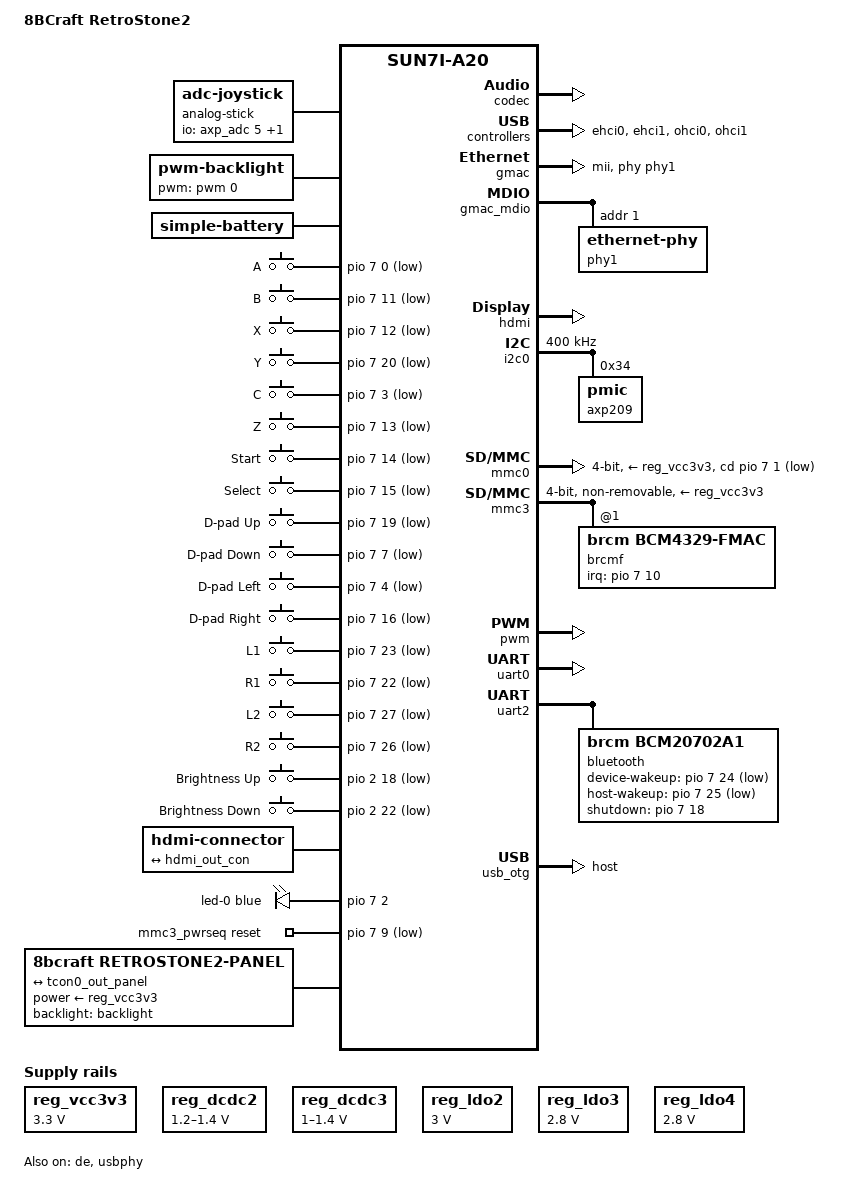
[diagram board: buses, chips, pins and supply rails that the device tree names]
// SPDX-License-Identifier: (GPL-2.0+ OR MIT)
/*
 * 8BCraft RetroStone2 handheld (Allwinner A20), device tree for RetroStoneOS.
 * Target: mainline Linux 6.18 (arch/arm/boot/dts/allwinner/).
 *
 * Pin assignments are verified against the RetroStone2 schematic v1.15
 * (hardware/retrostoneA20-1.15.sch). The old RetrOrangePi files in
 * reference/retrostone-rop/ contradict the schematic in several places; the
 * full pin table, the sources and the conflicts are in docs/hardware-pinmap.md.
 *
 * Opt-in hardware (the "Pro" variant parts) is described here but disabled:
 * eMMC on mmc2 and the M.2 SATA slot. Enable them with the overlays in
 * dts/overlays/ (the base DTB must be built with symbols, dtc -@).
 */

/dts-v1/;
#include "sun7i-a20.dtsi"

#include <dt-bindings/gpio/gpio.h>
#include <dt-bindings/input/input.h>
#include <dt-bindings/interrupt-controller/irq.h>
#include <dt-bindings/leds/common.h>

/ {
	model = "8BCraft RetroStone2";
	compatible = "8bcraft,retrostone2", "allwinner,sun7i-a20";

	aliases {
		ethernet0 = &gmac;	/* U-Boot derives the MAC from the SID */
		/* Stable block device numbers: the microSD is always mmcblk0 */
		mmc0 = &mmc0;
		mmc1 = &mmc2;
		mmc2 = &mmc3;
		serial0 = &uart0;
		serial1 = &uart2;
	};

	chosen {
		stdout-path = "serial0:115200n8";
	};

	/*
	 * Optional analog stick U$33 (FPC CN1, "Pro" part), read through the
	 * AXP209 ADC. The pots are fed from the 1.5 V net, the wipers go to AXP
	 * GPIO0 (X) and GPIO1 (Y). axp20x_adc raw unit is 0.5 mV, so full scale
	 * is ~3000. io-channels indexes are positions in axp20x_adc_channels[]:
	 * 5 = gpio0_v, 6 = gpio1_v (the old kernel exposed them as in_voltage3/4).
	 * X is inverted, like the production script (ABS_X = VREF - raw).
	 * With no stick fitted the inputs float at ~2000 mV (raw ~4000), outside
	 * abs-range: userspace must treat out-of-range values as "not connected".
	 * TODO(hw): calibrate range/center on a unit with the stick fitted.
	 */
	analog-stick {
		compatible = "adc-joystick";
		io-channels = <&axp_adc 5>, <&axp_adc 6>;
		poll-interval = <10>;
		#address-cells = <1>;
		#size-cells = <0>;

		axis@0 {
			reg = <0>;
			linux,code = <ABS_X>;
			abs-range = <3000 0>;
			abs-fuzz = <8>;
			abs-flat = <400>;
		};

		axis@1 {
			reg = <1>;
			linux,code = <ABS_Y>;
			abs-range = <0 3000>;
			abs-fuzz = <8>;
			abs-flat = <400>;
		};
	};

	/*
	 * PB2/PWM0 -> R22 -> CE of U14 (KA2707 LED boost), R23 pulls CE low.
	 * The boost runs from IPSOUT: there is no backlight enable GPIO and no
	 * backlight supply to switch (schematic v1.15).
	 */
	backlight: backlight {
		compatible = "pwm-backlight";
		pwms = <&pwm 0 50000 0>;
		/* Gamma 1.8 table from the production RetrOrangePi DTS */
		brightness-levels = <  0   1   1   1   1   1   2   2
				       3   3   4   5   6   6   7   8
				       9  11  12  13  14  15  17  18
				      20  21  23  24  26  27  29  31
				      33  35  37  39  41  43  45  47
				      49  51  54  56  58  61  63  66
				      68  71  73  76  79  81  84  87
				      90  93  96  99 102 105 108 111
				     114 117 121 124 127 131 134 138
				     141 145 148 152 156 159 163 167
				     171 175 178 182 186 190 194 198
				     203 207 211 215 219 224 228 233
				     237 241 246 250 255>;
		default-brightness-level = <50>;
	};

	/*
	 * Power management (docs/power.md): the Li-ion cell on U$18, used by
	 * axp20x-battery through monitored-battery. The 6.18 AXP209 driver
	 * applies two of these values at probe:
	 *  - voltage-min-design -> REG31 V_OFF, the AXP hardware cut-off
	 *    (2.6-3.3 V, reset default 2.9 V). 3.0 V is the last line of
	 *    defence; the frontend saves and powers off first, at 3.45 V
	 *    under load.
	 *  - constant-charge-current-max -> REG33 charge current (300-1800 mA,
	 *    100 mA steps). 1.0 A = 0.25 C for 4000 mAh, not above the AXP
	 *    reset default, and within what a micro-USB cable on ACIN (no
	 *    input current limit) delivers while the unit also runs.
	 * The others describe the cell; the AXP209 charge target stays at its
	 * 4.2 V reset default (the driver does not apply voltage-max-design).
	 * TODO(hw): cell capacity and datasheet (max charge current, cut-off),
	 * charge time and cable/charger heating at 1.0 A, and that REG33
	 * reads 4.2 V (voltage_max in sysfs).
	 */
	battery: battery {
		compatible = "simple-battery";
		device-chemistry = "lithium-ion";
		charge-full-design-microamp-hours = <4000000>;
		voltage-min-design-microvolt = <3000000>;
		voltage-max-design-microvolt = <4200000>;
		constant-charge-current-max-microamp = <1000000>;
		constant-charge-voltage-max-microvolt = <4200000>;
	};

	/*
	 * Face buttons, D-pad, START/SELECT. All switch to GND with an external
	 * 10k pull-up (active low). Every pin here is PH0-PH21, which have an
	 * external interrupt (EINTn) on the A20, so they are interrupt driven.
	 *
	 * Codes follow Documentation/input/gamepad.rst, which is positional:
	 * the Nintendo-style labels A (right) and B (bottom) map to BTN_EAST and
	 * BTN_SOUTH. This matches the production RetroArch autoconfig
	 * (PH0 = RetroPad A, PH11 = RetroPad B, PH12 = X, PH20 = Y).
	 * TODO(hw): confirm the physical A/B/X/Y positions on the case.
	 */
	gpio-keys {
		compatible = "gpio-keys";
		label = "RetroStone2 Buttons";

		button-a {
			label = "A";
			linux,code = <BTN_EAST>;
			gpios = <&pio 7 0 GPIO_ACTIVE_LOW>;	/* PH0, K2 */
		};

		button-b {
			label = "B";
			linux,code = <BTN_SOUTH>;
			gpios = <&pio 7 11 GPIO_ACTIVE_LOW>;	/* PH11, K4 */
		};

		button-x {
			label = "X";
			linux,code = <BTN_NORTH>;
			gpios = <&pio 7 12 GPIO_ACTIVE_LOW>;	/* PH12, K1 */
		};

		button-y {
			label = "Y";
			linux,code = <BTN_WEST>;
			gpios = <&pio 7 20 GPIO_ACTIVE_LOW>;	/* PH20, K3 */
		};

		/* Optional buttons (pads SELECT3/SELECT4 on the PCB) */
		button-c {
			label = "C";
			linux,code = <BTN_C>;
			gpios = <&pio 7 3 GPIO_ACTIVE_LOW>;	/* PH3, K5 */
		};

		button-z {
			label = "Z";
			linux,code = <BTN_Z>;
			gpios = <&pio 7 13 GPIO_ACTIVE_LOW>;	/* PH13, K6 */
		};

		button-start {
			label = "Start";
			linux,code = <BTN_START>;
			gpios = <&pio 7 14 GPIO_ACTIVE_LOW>;	/* PH14 */
		};

		button-select {
			label = "Select";
			linux,code = <BTN_SELECT>;
			gpios = <&pio 7 15 GPIO_ACTIVE_LOW>;	/* PH15 */
		};

		button-dpad-up {
			label = "D-pad Up";
			linux,code = <BTN_DPAD_UP>;
			gpios = <&pio 7 19 GPIO_ACTIVE_LOW>;	/* PH19 */
		};

		button-dpad-down {
			label = "D-pad Down";
			linux,code = <BTN_DPAD_DOWN>;
			gpios = <&pio 7 7 GPIO_ACTIVE_LOW>;	/* PH7 */
		};

		button-dpad-left {
			label = "D-pad Left";
			linux,code = <BTN_DPAD_LEFT>;
			gpios = <&pio 7 4 GPIO_ACTIVE_LOW>;	/* PH4 */
		};

		button-dpad-right {
			label = "D-pad Right";
			linux,code = <BTN_DPAD_RIGHT>;
			gpios = <&pio 7 16 GPIO_ACTIVE_LOW>;	/* PH16 */
		};
	};

	/*
	 * Shoulder buttons on the 5-pin JST connector U$4. PH22-PH27 have no
	 * EINT on the A20, so they are polled. Active low, external 10k pull-ups.
	 */
	gpio-keys-shoulder {
		compatible = "gpio-keys-polled";
		label = "RetroStone2 Shoulder Buttons";
		poll-interval = <5>;

		button-l1 {
			label = "L1";
			linux,code = <BTN_TL>;
			gpios = <&pio 7 23 GPIO_ACTIVE_LOW>;	/* PH23 */
		};

		button-r1 {
			label = "R1";
			linux,code = <BTN_TR>;
			gpios = <&pio 7 22 GPIO_ACTIVE_LOW>;	/* PH22 */
		};

		button-l2 {
			label = "L2";
			linux,code = <BTN_TL2>;
			gpios = <&pio 7 27 GPIO_ACTIVE_LOW>;	/* PH27 */
		};

		button-r2 {
			label = "R2";
			linux,code = <BTN_TR2>;
			gpios = <&pio 7 26 GPIO_ACTIVE_LOW>;	/* PH26 */
		};
	};

	/*
	 * Tact switches U$32 (PC18) and U$31 (PC22), active low with external
	 * 10k pull-ups. Port C has no EINT, so they are polled. The production
	 * firmware used them as brightness +/-; volume is an analog wheel, so
	 * brightness codes are the right default. Kept in their own input
	 * device so the gamepad device only reports gamepad codes.
	 */
	gpio-keys-brightness {
		compatible = "gpio-keys-polled";
		label = "RetroStone2 Brightness Keys";
		poll-interval = <10>;

		key-brightness-up {
			label = "Brightness Up";
			linux,code = <KEY_BRIGHTNESSUP>;
			gpios = <&pio 2 18 GPIO_ACTIVE_LOW>;	/* PC18, U$32 */
		};

		key-brightness-down {
			label = "Brightness Down";
			linux,code = <KEY_BRIGHTNESSDOWN>;
			gpios = <&pio 2 22 GPIO_ACTIVE_LOW>;	/* PC22, U$31 */
		};
	};

	hdmi-connector {
		compatible = "hdmi-connector";
		type = "a";

		port {
			hdmi_con_in: endpoint {
				remote-endpoint = <&hdmi_out_con>;
			};
		};
	};

	leds {
		compatible = "gpio-leds";

		/* PH2 -> R110 (10k) -> LED3 (blue) -> GND: active high */
		led-0 {
			function = LED_FUNCTION_STATUS;
			color = <LED_COLOR_ID_BLUE>;
			gpios = <&pio 7 2 GPIO_ACTIVE_HIGH>;	/* PH2 */
			default-state = "off";
		};
	};

	/* eMMC U23 reset (RST_N, 10k pull-up R121). Enabled by the emmc overlay. */
	mmc2_pwrseq: pwrseq-emmc {
		compatible = "mmc-pwrseq-emmc";
		reset-gpios = <&pio 2 16 GPIO_ACTIVE_LOW>;	/* PC16 */
		status = "disabled";
	};

	/* AP6210 WL_REG_ON and the 32.768 kHz LPO from CLK_OUT_A (PI12) */
	mmc3_pwrseq: pwrseq-wifi {
		compatible = "mmc-pwrseq-simple";
		reset-gpios = <&pio 7 9 GPIO_ACTIVE_LOW>;	/* PH9 WL_REG_ON */
		clocks = <&ccu CLK_OUT_A>;
		clock-names = "ext_clock";
		/* out-a resets to the 24 MHz parent: force 32.768 kHz from osc32k */
		assigned-clocks = <&ccu CLK_OUT_A>;
		assigned-clock-parents = <&osc32k>;
		assigned-clock-rates = <32768>;
	};

	/*
	 * 3.5" 640x480 parallel RGB panel on the FPC U$7. All 24 data lines
	 * (PD0-PD23), CLK (PD24 via R24), DE (PD25), HSYNC (PD26) and VSYNC
	 * (PD27) are wired, so the bus is RGB888 (the old U-Boot "depth:18" was
	 * wrong). The panel's SPI and reset pins are not connected to the SoC.
	 *
	 * Timings are the ones the production kernel patched into panel-simple:
	 * htotal 800, vtotal 525, 33 MHz, i.e. a ~78.6 Hz refresh.
	 * TODO(hw): try clock-frequency = <25200000> for a true 60 Hz, which is
	 * much better for emulator vsync, and check the panel datasheet.
	 * Polarities: hsync/vsync active low (production kernel; the old U-Boot
	 * forced them high, but that was a "VGA via LCD" leftover), DE active
	 * high (the production patch removed DE_LOW), pixel data driven on the
	 * rising edge: this is exactly what the production kernel programmed
	 * (no DCLK_DRIVE_NEGEDGE bit). U-Boot's DCLK_PHASE=1 is a TCON phase
	 * tweak that mainline cannot express; the kernel resets the TCON anyway.
	 * TODO(hw): confirm the panel model, timings and polarities.
	 */
	panel: panel {
		compatible = "8bcraft,retrostone2-panel", "panel-dpi";
		/* The panel VCC is the 3.3 V rail directly: no power GPIO */
		power-supply = <&reg_vcc3v3>;
		backlight = <&backlight>;
		width-mm = <70>;
		height-mm = <52>;

		panel-timing {
			clock-frequency = <33000000>;
			hactive = <640>;
			vactive = <480>;
			hfront-porch = <16>;
			hsync-len = <30>;
			hback-porch = <114>;
			vfront-porch = <10>;
			vsync-len = <3>;
			vback-porch = <32>;
			hsync-active = <0>;
			vsync-active = <0>;
			de-active = <1>;
			pixelclk-active = <1>;
		};

		port {
			panel_input: endpoint {
				remote-endpoint = <&tcon0_out_panel>;
			};
		};
	};

	/*
	 * Main 3.3 V rail (SY8009 buck U15, enabled by AXP LDO2). It also feeds
	 * the LCD, the SD card, the eMMC and the AP6210. Not software controlled.
	 */
	reg_vcc3v3: regulator-vcc3v3 {
		compatible = "regulator-fixed";
		regulator-name = "vcc3v3";
		regulator-min-microvolt = <3300000>;
		regulator-max-microvolt = <3300000>;
		regulator-always-on;
	};

	/*
	 * USB port power: all three ports get +5V_USB from U4 (SY6280) whose EN
	 * is tied to +5V, so VBUS is always on and there is no VBUS GPIO.
	 * Do NOT use sunxi-common-regulators.dtsi: its PH6/PH3/PB8/PB9 GPIOs are
	 * the ethernet PHY reset option, button K5 and BT PCM lines here.
	 */
};

/* M.2 NGFF M-key SATA slot J1 ("Pro" part). Enabled by the sata overlay. */
&ahci {
	status = "disabled";
};

/*
 * Speaker amp U1-A (PAM8302A) /SD is driven by the AXP209 EXTEN output
 * (which also enables the 5 V boost U16): there is no amplifier GPIO.
 * HPL/HPR -> analog volume wheel U$27 -> headphone jack U$24, whose switch
 * contacts feed the speaker amp. Volume and speaker/headphone switching are
 * fully analog: keep the codec headphone volume fixed near maximum.
 */
&codec {
	status = "okay";
};

&cpu0 {
	cpu-supply = <&reg_dcdc2>;
};

&de {
	status = "okay";
};

/* USB1 (EHCI0/OHCI0): lower connector of the stacked USB-A USB2 */
&ehci0 {
	status = "okay";
};

/* USB2 (EHCI1/OHCI1): USB-A connector U$1 */
&ehci1 {
	status = "okay";
};

/*
 * LAN8710A (U10), MII. Straps: PHYAD0 (RXER) pulled up by R12, PHYAD1
 * (RXCLK) and PHYAD2 (RXD3) pulled down by R15/R16, so the address is 1.
 * RMIISEL (RXD2) pulled down by R17: MII. The PHY NRST is on the system
 * reset; the PH6 option (R54) is not fitted.
 */
&gmac {
	pinctrl-names = "default";
	pinctrl-0 = <&gmac_mii_pins>;
	phy-handle = <&phy1>;
	phy-mode = "mii";
	status = "okay";
};

&gmac_mdio {
	phy1: ethernet-phy@1 {
		reg = <1>;
	};
};

&hdmi {
	status = "okay";
};

&hdmi_out {
	hdmi_out_con: endpoint {
		remote-endpoint = <&hdmi_con_in>;
	};
};

/*
 * AXP209 bus at 400 kHz (the default is 100 kHz): the PMIC probe (MFD cells,
 * regulators, ADC, battery) is ~150 register accesses and took 74 ms at boot
 * at 100 kHz. U-Boot's SPL already talks to this AXP209 at 400 kHz
 * (CONFIG_SYS_I2C_SPEED) on every boot. TODO(hw): check that the kernel log
 * shows no "mv64xxx: I2C bus locked" or AXP read errors.
 */
&i2c0 {
	clock-frequency = <400000>;
	status = "okay";

	axp209: pmic@34 {
		reg = <0x34>;
		interrupt-parent = <&nmi_intc>;
		interrupts = <0 IRQ_TYPE_LEVEL_LOW>;
	};
};

#include "axp209.dtsi"

/*
 * Charging input: the micro-USB U$17 VBUS feeds the AXP209 ACIN. The AXP
 * VBUS pin only has a capacitor, so the AXP USB power supply stays disabled.
 */
&ac_power_supply {
	status = "okay";
};

/* Battery on U$18 with its NTC on the AXP TS pin */
&battery_power_supply {
	monitored-battery = <&battery>;	/* V_OFF and charge current, see &battery */
	status = "okay";
};

/* Analog stick wipers: put AXP GPIO0/GPIO1 in ADC mode (pinctrl hog) */
&axp_gpio {
	pinctrl-names = "default";
	pinctrl-0 = <&axp_gpio0_adc_pin>, <&axp_gpio1_adc_pin>;

	axp_gpio0_adc_pin: gpio0-adc-pin {
		pins = "GPIO0";
		function = "adc";
	};

	axp_gpio1_adc_pin: gpio1-adc-pin {
		pins = "GPIO1";
		function = "adc";
	};
};

/* The DVFS range covers the A20 OPP table (1.0 V @ 144 MHz .. 1.4 V @ 960 MHz) */
/*
 * CPU core supply (DVFS through cpu-supply). The first real boot (2026-09-26)
 * froze the whole system each time the CPU went idle, right after the menu
 * loaded; RetrOrangePi never scaled the voltage (no cpu-supply: fixed 1.4 V
 * from U-Boot). Suspects: instability at the 1.0 V OPPs (144/312 MHz) on this
 * board, or the frequency rising before the AXP209 output has settled (the
 * driver declares no ramp time). So, until measured on hardware:
 * - floor at 1.2 V: OPPs below 720 MHz are dropped by the OPP core;
 * - ramp-delay: DCDC2 slews at 1.6 mV/us and the kernel waits for it.
 * The overlay "cpu-lowvolt" restores the 1.0 V floor for testing.
 * TODO(hw): find the lowest stable voltage and restore the low OPPs.
 */
&reg_dcdc2 {
	regulator-always-on;
	regulator-min-microvolt = <1200000>;
	regulator-max-microvolt = <1400000>;
	regulator-ramp-delay = <1600>;
	regulator-name = "vdd-cpu";
};

&reg_dcdc3 {
	regulator-always-on;
	regulator-min-microvolt = <1000000>;
	regulator-max-microvolt = <1400000>;
	regulator-name = "vdd-int-dll";
};

&reg_ldo1 {
	regulator-name = "vdd-rtc";
};

/* AVCC, and the enable of the 3.3 V buck U15: must never be turned off */
&reg_ldo2 {
	regulator-always-on;
	regulator-min-microvolt = <3000000>;
	regulator-max-microvolt = <3000000>;
	regulator-name = "avcc";
};

/*
 * LDO3 = VCC-PE, LDO4 = VCC-PG (I/O banks only broken out to the SV2/SV6
 * headers and test pads). No consumer, so Linux turns them off after boot,
 * as the production kernel did.
 */
&reg_ldo3 {
	regulator-min-microvolt = <2800000>;
	regulator-max-microvolt = <2800000>;
	regulator-name = "vcc-pe";
	regulator-soft-start;
	regulator-ramp-delay = <1600>;
};

&reg_ldo4 {
	regulator-min-microvolt = <2800000>;
	regulator-max-microvolt = <2800000>;
	regulator-name = "vcc-pg";
};

/*
 * AT24C16 EEPROM U5 on TWI1 (PB18/PB19). Disabled: on the first hardware
 * boot (2026-09-26) the bus was stuck ("i2c i2c-1: mv64xxx: I2C bus locked",
 * twice, 2 s each), which cost 4.2 s of boot time, and nothing uses the EEPROM.
 * TODO(hw): check whether U5 and the pull-ups R42/R44 are fitted.
 */
&i2c1 {
	status = "disabled";

	eeprom: eeprom@50 {
		compatible = "atmel,24c16";
		reg = <0x50>;
		pagesize = <16>;
	};
};

/*
 * microSD, card detect PH1 with the external 47k pull-up R41.
 * post-power-on-delay-ms: the MMC core waits this long twice while "powering
 * up" the card before its first command (default 10 ms each, on the path to
 * the root filesystem). The card supply is the always-on 3.3 V rail, powered
 * since the boot ROM read the card, so nothing ramps; 1 ms still covers the
 * 74 clocks the SD spec asks for at 400 kHz.
 */
&mmc0 {
	vmmc-supply = <&reg_vcc3v3>;
	bus-width = <4>;
	cd-gpios = <&pio 7 1 GPIO_ACTIVE_LOW>;	/* PH1 */
	post-power-on-delay-ms = <1>;
	status = "okay";
};

/*
 * eMMC U23 (KLMAG2GEND, 16 GB, "Pro" part). Its DAT4-DAT7 are wired to
 * PC12-PC15, but the A20 has no SDC2 function on those pins (the 6.18
 * pinctrl driver only offers it on the R40), so the bus is 4-bit.
 * Enabled by the emmc overlay.
 */
&mmc2 {
	vmmc-supply = <&reg_vcc3v3>;
	vqmmc-supply = <&reg_vcc3v3>;
	bus-width = <4>;
	non-removable;
	mmc-pwrseq = <&mmc2_pwrseq>;
	status = "disabled";
};

/*
 * WiFi/BT module U$2: AP6210 (BCM43362 WiFi + BCM20710 BT). The schematic
 * symbol says AP6212 but its value field says AP6210, and RetrOrangePi used
 * the AP6210 firmware successfully. WiFi needs brcmfmac43362-sdio firmware.
 * Some units might carry an AP6212 (BCM43430, brcmfmac43430-sdio firmware);
 * the WiFi node is the same for both.
 */
&mmc3 {
	vmmc-supply = <&reg_vcc3v3>;
	mmc-pwrseq = <&mmc3_pwrseq>;
	bus-width = <4>;
	non-removable;
	status = "okay";

	brcmf: wifi@1 {
		reg = <1>;
		compatible = "brcm,bcm4329-fmac";
		interrupt-parent = <&pio>;
		interrupts = <7 10 IRQ_TYPE_LEVEL_LOW>;	/* PH10 / EINT10 WL_HOST_WAKE */
		interrupt-names = "host-wake";
	};
};

/* USB0: upper connector of the stacked USB-A USB2, host only */
&ohci0 {
	status = "okay";
};

&ohci1 {
	status = "okay";
};

&otg_sram {
	status = "okay";
};

&pio {
	/* 32.768 kHz LPO for the AP6210 WiFi and BT (PI12 = CLK_OUT_A) */
	pinctrl-names = "default";
	pinctrl-0 = <&clk_out_a_pin>;

	lcd0_rgb888_pins: lcd0-rgb888-pins {
		pins = "PD0", "PD1", "PD2", "PD3", "PD4", "PD5",
		       "PD6", "PD7", "PD8", "PD9", "PD10", "PD11",
		       "PD12", "PD13", "PD14", "PD15", "PD16", "PD17",
		       "PD18", "PD19", "PD20", "PD21", "PD22", "PD23",
		       "PD24", "PD25", "PD26", "PD27";
		function = "lcd0";
	};
};

&pwm {
	pinctrl-names = "default";
	pinctrl-0 = <&pwm0_pin>;
	status = "okay";
};

&tcon0 {
	pinctrl-names = "default";
	pinctrl-0 = <&lcd0_rgb888_pins>;
};

/* LCD on TCON0 channel 0; HDMI is reachable from TCON0 and TCON1 (dtsi) */
&tcon0_out {
	tcon0_out_panel: endpoint@0 {
		reg = <0>;
		remote-endpoint = <&panel_input>;
	};
};

/* Debug console, header "UART0" (PB22 TX, PB23 RX) */
&uart0 {
	pinctrl-names = "default";
	pinctrl-0 = <&uart0_pb_pins>;
	status = "okay";
};

/* AP6210 Bluetooth: UART2 on PI16-PI19 with RTS/CTS */
&uart2 {
	pinctrl-names = "default";
	pinctrl-0 = <&uart2_pi_pins>, <&uart2_cts_rts_pi_pins>;
	uart-has-rtscts;
	status = "okay";

	/*
	 * AP6210 BT (BCM20710), modelled like sun7i-a20-cubietruck.dts; the
	 * RetrOrangePi image loaded ap6210/bcm20710a1.hcd and BT worked.
	 * Units with an AP6212 would need "brcm,bcm43430a1-bt" instead.
	 * PH25 has no EINT, so host wake cannot be an interrupt (as on the
	 * Cubietruck).
	 */
	bluetooth {
		compatible = "brcm,bcm20702a1";
		clocks = <&ccu CLK_OUT_A>;
		clock-names = "lpo";
		device-wakeup-gpios = <&pio 7 24 GPIO_ACTIVE_LOW>;	/* PH24 BT_WAKE */
		host-wakeup-gpios = <&pio 7 25 GPIO_ACTIVE_LOW>;	/* PH25 BT_HOST_WAKE */
		shutdown-gpios = <&pio 7 18 GPIO_ACTIVE_HIGH>;	/* PH18 BT_RST_N */
		max-speed = <1500000>;
	};
};

/* No VBUS control on any port (always on), and no ID/VBUS detect pins */
&usb_otg {
	dr_mode = "host";
	status = "okay";
};

&usbphy {
	status = "okay";
};
